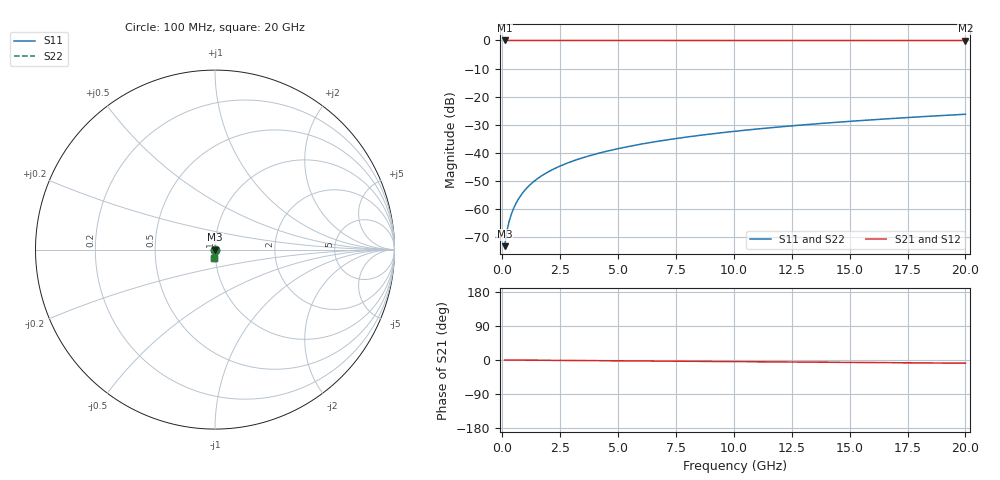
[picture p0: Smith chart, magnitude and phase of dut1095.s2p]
! Touchstone file exported from HFSS 2026.1.0
!  File:  C:/ffzhzh/LocalFiles/Ansys_Project_Files/temp_train_TSV_1095_1783190408_51560.aedt
!  Generated:  02:41:23 AM Jul  5, 2026
!  Design:  TSV
!  Project:  temp_train_TSV_1095_1783190408_51560
! Variables:
!  h_bsmrdl = 2um
!  h_ox = 20um
!  h_rdl = 5um
!  h_sub = 83.21um
!  h_tmrdl = 5um
!  h_tsv = 83.21um
!  h_via = 3um
!  l_bsmrdl = 300um
!  l_sub = 425um
!  l_tmrdl = 200um
!  m_sub = 200um
!  pitch = 37.26um
!  r_tsv = 12.5um
!  s_tmrdl = 10um
!  w_bsmrdl = 18um
!  w_sub = 500um
!  w_tmrdl = 12um
!  x_tsv_center1 = 206um
!  x_tsv_center2 = 524um
!  x_tsv_center3 = 736um
!  x_tsv_center4 = 1054um
!  x_tsv_center5 = 1266um
!  x_tsv_center6 = 1584um
# GHz S MA R 50.000000
! Terminal data exported
! Port[1] = TSV1_1_T1
! Port[2] = TSV1_1_T2
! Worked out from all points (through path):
!   200 points, 100 MHz to 20 GHz, reference 50 ohm
!   highest |S21| = 0.00 dB at 100 MHz (marker M1); lowest = 0.0 dB at 20 GHz (marker M2)
!   group delay of S21, straight-line fit = 1.17 ps
!   lowest |S11| = -73.2 dB at 100 MHz (marker M3), VSWR 1.00, Z = 50 - j0.0196 ohm
!   |S11| at or under -10 dB: start of sweep to end of sweep
!   |S22| runs from -73.2 to -26.2 dB; largest |S21 - S12| = 3.7e-15
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0.1  0.00022 -62.8  0.9999 -0.0  0.9999 -0.0  0.00022 -62.8
! Gamma 0 0 0 0
! Port Impedance 50 0 50 0
0.2  0.0004122 -73.7  0.9999 -0.1  0.9999 -0.1  0.0004122 -73.7
0.3  0.0006183 -77.1  0.9999 -0.1  0.9999 -0.1  0.0006183 -77.1
0.4  0.0008341 -78.7  0.9998 -0.2  0.9998 -0.2  0.0008341 -78.7
0.5  0.001058 -79.6  0.9998 -0.2  0.9998 -0.2  0.001058 -79.6
0.7  0.001522 -81.0  0.9998 -0.3  0.9998 -0.3  0.001522 -81.0
0.8  0.001759 -81.6  0.9997 -0.3  0.9997 -0.3  0.001759 -81.6
1  0.002238 -82.6  0.9997 -0.4  0.9997 -0.4  0.002238 -82.6
1.2  0.00272 -83.5  0.9997 -0.5  0.9997 -0.5  0.00272 -83.5
1.4  0.003202 -84.2  0.9996 -0.6  0.9996 -0.6  0.003202 -84.2
1.7  0.003926 -85.1  0.9996 -0.7  0.9996 -0.7  0.003926 -85.1
2  0.00465 -85.8  0.9996 -0.9  0.9996 -0.9  0.00465 -85.8
2.7  0.006338 -87.0  0.9995 -1.2  0.9995 -1.2  0.006338 -87.0
3.5  0.008272 -87.9  0.9994 -1.5  0.9994 -1.5  0.008272 -87.9
4.2  0.00997 -88.5  0.9994 -1.8  0.9994 -1.8  0.00997 -88.5
5  0.01192 -89.1  0.9993 -2.1  0.9993 -2.1  0.01192 -89.1
6.8  0.01632 -90.3  0.9991 -2.9  0.9991 -2.9  0.01632 -90.3
8.3  0.02 -91.2  0.999 -3.5  0.999 -3.5  0.02 -91.2
10.1  0.02442 -92.2  0.9988 -4.3  0.9988 -4.3  0.02442 -92.2
13.4  0.03253 -93.8  0.9984 -5.7  0.9984 -5.7  0.03253 -93.8
16.7  0.04064 -95.4  0.998 -7.0  0.998 -7.0  0.04064 -95.4
20  0.04873 -96.9  0.9975 -8.4  0.9975 -8.4  0.04873 -96.9
